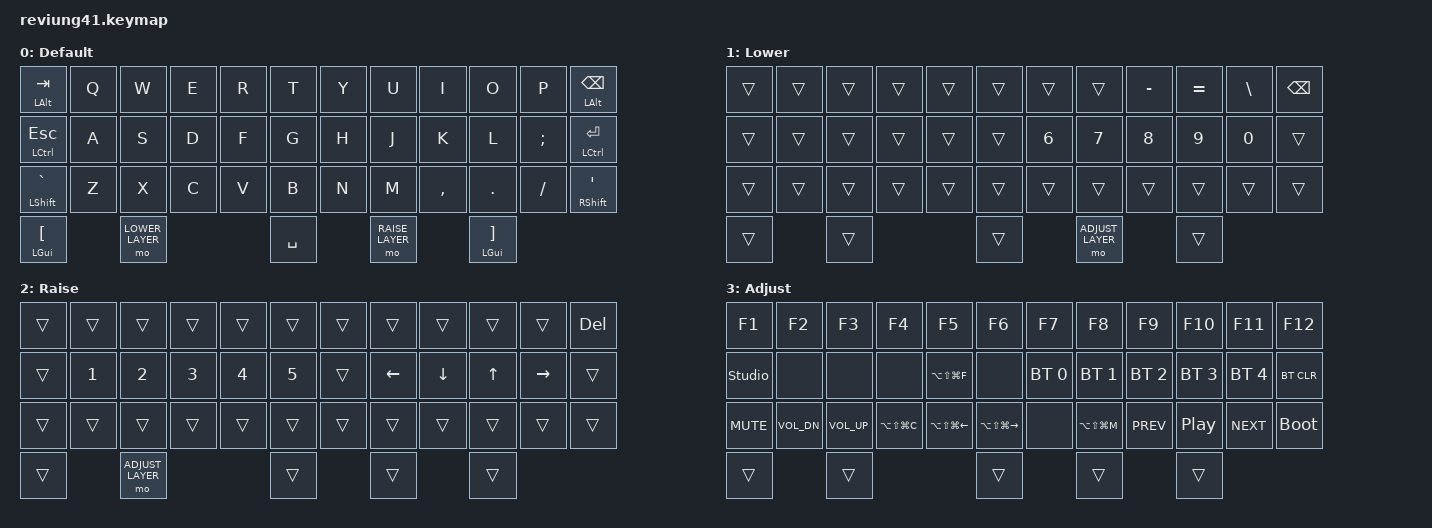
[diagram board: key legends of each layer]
#include <behaviors.dtsi>
#include <dt-bindings/zmk/keys.h>
#include <dt-bindings/zmk/bt.h>
#include <dt-bindings/zmk/rgb.h>

#define DEFAULT_LAYER 0
#define LOWER_LAYER   1
#define RAISE_LAYER   2
#define ADJUST_LAYER  3

/ {
        keymap {
                compatible = "zmk,keymap";

                default_layer {
                        display-name = "Default";
// --------------------------------------------------------------------------------------------------------------------
// | LALT  (TAB) |  Q  |  W  |  E  |  R  |  T  |   |  Y  |  U   |  I  |  O  |  P  | LALT  (BSPC) |
// | LCTRL (ESC) |  A  |  S  |  D  |  F  |  G  |   |  H  |  J   |  K  |  L  |  ;  | LCTRL ( RET) |
// |  SHFT ( ` ) |  Z  |  X  |  C  |  V  |  B  |   |  N  |  M   |  ,  |  .  |  /  | SHFT  (   ') |
//                          | LGUI ([) | LWR |  SPC  | RSE  | LGUI (]) |
                        bindings = <
   &mt  LALT   TAB &kp Q &kp W &kp E &kp R &kp T   &kp Y &kp U &kp I     &kp O   &kp P    &mt  LALT BSPC
   &mt LCTRL   ESC &kp A &kp S &kp D &kp F &kp G   &kp H &kp J &kp K     &kp L   &kp SEMI &mt LCTRL  RET
   &mt LSHFT GRAVE &kp Z &kp X &kp C &kp V &kp B   &kp N &kp M &kp COMMA &kp DOT &kp FSLH &mt RSHFT  SQT
           &mt LGUI LBKT &mo LOWER_LAYER   &kp SPACE   &mo RAISE_LAYER  &mt LGUI RBKT
                        >;
                };

                lower_layer {
                        display-name = "Lower";
// ------------------------------------------------------------------------------
// |    |     |     |     |     |     |   |     |     |  -  |  =  |  \  | BSPC |
// |    |     |     |     |     |     |   |  6  |  7  |  8  |  9  |  0  |      |
// |    |     |     |     |     |     |   |     |     |     |     |     |      |
//                       |     |     |     | ADJ |     |
                        bindings = <
   &trans  &trans  &trans  &trans  &trans  &trans  &trans  &trans  &kp MINUS  &kp EQUAL  &kp BACKSLASH &kp BSPC
   &trans  &trans  &trans  &trans  &trans  &trans  &kp N6  &kp N7  &kp N8     &kp N9     &kp N0        &trans
   &trans  &trans  &trans  &trans  &trans  &trans  &trans  &trans  &trans     &trans     &trans        &trans
                  &trans      &trans       &trans        &mo ADJUST_LAYER       &trans
                        >;
                };

                raise_layer {
                        display-name = "Raise";
// -----------------------------------------------------------------------------------------
// |    |     |     |     |     |     |   |     |      |      |     |       | DEL |
// |    |  1  |  2  |  3  |  4  |  5  |   |     | Left | Down |  Up | Right |     |
// |    |     |     |     |     |     |   |     |      |      |     |       |     |
//                       |     | ADJ |     |     |     |
                        bindings = <
   &trans  &trans  &trans &trans  &trans  &trans  &trans  &trans    &trans    &trans  &trans     &kp DEL
   &trans  &kp N1  &kp N2 &kp N3  &kp N4  &kp N5  &trans  &kp LEFT  &kp DOWN  &kp UP  &kp RIGHT  &trans
   &trans  &trans  &trans &trans  &trans  &trans  &trans  &trans    &trans    &trans  &trans     &trans
                  &trans      &mo ADJUST_LAYER       &trans        &trans       &trans
                        >;
                };

                adjust_layer {
                        display-name = "Adjust";
// -----------------------------------------------------------------------------------------
// |    F1    |    F2    |    F3    |    F4       |     F5         |    F6           |    |  F7 |     F8      |  F9  | F10  | F11  | F12    |
// |  Studio  |          |          |             | Spectacle+F    |                 |    | BT1 |     BT2     | BT3  | BT4  | BT5  | BT CLR |
// |   Mute   | Vol_Down |  Vol_Up  | Spectacle+C | Spectacle+Left | Spectacle+Right |    |     | Spectacle+M | PREV | PLAY | NEXT | BOOT   |
//                                               |     |     |      |     |     |
                        bindings = <
   &kp F1     &kp F2       &kp F3       &kp F4            &kp F5               &kp F6                &kp F7       &kp F8            &kp F9       &kp F10      &kp F11      &kp F12
   &studio_unlock &none    &none        &none             &kp LA(LS(LG(F)))    &none                 &bt BT_SEL 0 &bt BT_SEL 1      &bt BT_SEL 2 &bt BT_SEL 3 &bt BT_SEL 4 &bt BT_CLR
   &kp K_MUTE &kp C_VOL_DN &kp K_VOL_UP &kp LA(LS(LG(C))) &kp LA(LS(LG(LEFT))) &kp LA(LS(LG(RIGHT))) &none        &kp LA(LS(LG(M))) &kp C_PREV   &kp C_PP     &kp C_NEXT   &bootloader
                                          &trans      &trans       &trans        &trans       &trans
                        >;
                };

                extra1 {
                        status = "reserved";
                };

                extra2 {
                        status = "reserved";
                };
        };
};
